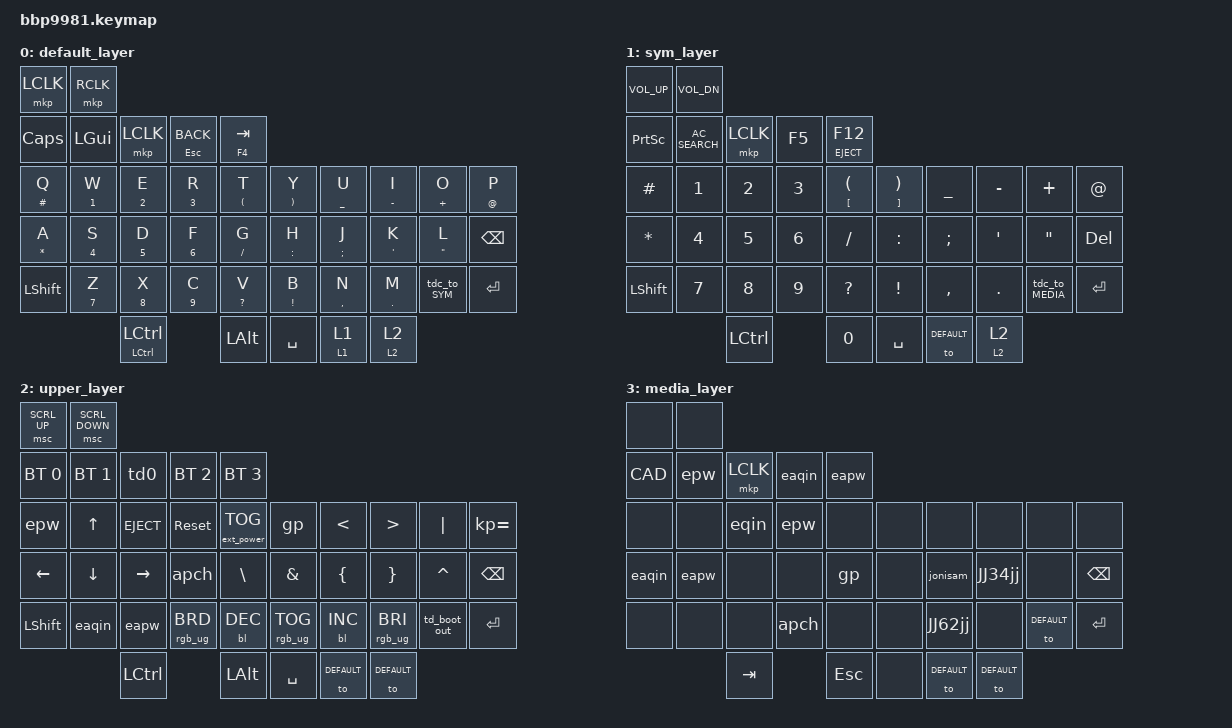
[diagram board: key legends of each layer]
/*
 * Copyright (c) 2025 ZitaoTech
 *
 * SPDX-License-Identifier: MIT
 */

#include <dt-bindings/zmk/mouse.h>
#include <behaviors.dtsi>
#include <dt-bindings/zmk/backlight.h>
#include <dt-bindings/zmk/bt.h>
#include <dt-bindings/zmk/ext_power.h>
#include <dt-bindings/zmk/keys.h>
#include <dt-bindings/zmk/outputs.h>
#include <dt-bindings/zmk/pointing.h>
#include <dt-bindings/zmk/rgb.h>

#define DEFAULT 0
#define SYM 1
#define UPPER 2
#define MEDIA 3

#define SL_MO(layer) &sl_mo layer layer //tap -> sticky layer, hold -> momentary layer

&sl { release-after-ms = <3000>; };

/ {
    behaviors {
        td0: tap_dance_0 {
            compatible = "zmk,behavior-tap-dance";
            #binding-cells = <0>;
            tapping-term-ms = <400>;
            bindings = <&mkp LCLK>, <&bt BT_CLR>;
        };
    };

    behaviors {
        td_boot_out: td_boot_out {
            compatible = "zmk,behavior-tap-dance";
            #binding-cells = <0>;
            tapping-term-ms = <400>;
            bindings = <&bootloader>, <&out OUT_TOG>;
        };
    };

    behaviors {
        tdc_to_SYM: td_comma_to_layer {
            compatible = "zmk,behavior-tap-dance";
            #binding-cells = <0>;
            tapping-term-ms = <400>;
            bindings = <&kp SEMI>, <&to SYM>;
        };
    };

    behaviors {
        tdc_to_MEDIA: td_mute_to_layer {
            compatible = "zmk,behavior-tap-dance";
            #binding-cells = <0>;
            tapping-term-ms = <400>;
            bindings = <&kp C_MUTE>, <&to MEDIA>;
        };
    };

    behaviors {
        hm: homerow_mods {
            compatible = "zmk,behavior-hold-tap";
            #binding-cells = <2>;
            tapping-term-ms = <400>;
            bindings = <&kp &kp>;
        };
    };

    behaviors {
        sl_mo: behavior_sl_mo {
            compatible = "zmk,behavior-hold-tap";
            #binding-cells = <2>;
            flavor = "hold-preferred";      /* 单击优先 */
            tapping-term-ms = <450>;       /* 长按阈值 */
            bindings = <&mo &sl>;          /* hold=MO, tap=SL */
        };
    };

    behaviors {
        sk_kp: behavior_sk_kp {
            compatible = "zmk,behavior-hold-tap";
            #binding-cells = <2>;
            flavor = "hold-preferred";
            tapping-term-ms = <450>;
            bindings = <&kp &sk>;          /* hold=kp, tap=sticky key */
        };
    };

    behaviors {
        bhm: balanced_homerow_mods {
            compatible = "zmk,behavior-hold-tap";
            #binding-cells = <2>;
            flavor = "balanced";
            tapping-term-ms = <400>;
            bindings = <&kp>, <&kp>;
        };
    };

    macros {
        eqin: eqin {
            compatible = "zmk,behavior-macro";
            #binding-cells = <0>;
            bindings = <&none &kp E &kp A &kp Q &kp I &kp N>;
            label = "EQIN";
        };

        epw: epw {
            compatible = "zmk,behavior-macro";
            #binding-cells = <0>;
            bindings = <&none &kp LS(Q) &kp LS(J) &kp N2 &kp N3 &kp N4 &kp N7 &kp N1 &kp N2 &kp AT &kp T &kp B &kp EXCL>;
            label = "EPW";
        };

        eaqin: eaqin {
            compatible = "zmk,behavior-macro";
            #binding-cells = <0>;
            bindings = <&none &kp E &kp A &kp Q &kp I &kp N>;
            label = "EAQIN";
        };

        eapw: eapw {
            compatible = "zmk,behavior-macro";
            #binding-cells = <0>;
            bindings = <&none &kp LS(Q) &kp LS(J) &kp N3 &kp N2 &kp N8 &kp N5 &kp N0 &kp N4 &kp AT &kp T &kp B &kp EXCL>;
            label = "EAPW";
        };

        jonisam: jonisam {
            compatible = "zmk,behavior-macro";
            #binding-cells = <0>;
            bindings = <&none &kp J &kp O &kp N &kp I &kp S &kp A &kp M>;
            label = "JONISAM";
        };

        JJ62jj: JJ62jj {
            compatible = "zmk,behavior-macro";
            #binding-cells = <0>;
            bindings = <&none &kp LS(J) &kp LS(J) &kp N6 &kp N2 &kp N0 &kp N4 &kp N6 &kp N2 &kp N3 &kp N9 &kp J &kp J>;
            label = "JJ62JJ";
        };

        JJ34jj: JJ34jj {
            compatible = "zmk,behavior-macro";
            #binding-cells = <0>;
            bindings = <&none &kp LS(J) &kp LS(J) &kp N3 &kp N4 &kp N2 &kp N2 &kp N2 &kp N2 &kp N4 &kp N0 &kp J &kp J>;
            label = "JJ34JJ";
        };

        gp: gp {
            compatible = "zmk,behavior-macro";
            #binding-cells = <0>;
            bindings = <&none &kp G &kp P &kp U &kp P &kp D &kp A &kp T &kp E &kp SPACE &kp FSLH &kp F &kp O &kp R &kp C &kp E>;
            label = "GP";
        };

        apch: apch {
            compatible = "zmk,behavior-macro";
            #binding-cells = <0>;
            bindings = <&none &kp BSLH &kp BSLH &kp A &kp P &kp C &kp H &kp S &kp H &kp A &kp V &kp P &kp F &kp I &kp L &kp N0 &kp N1>;
            label = "APCH";
        };

        CAD: CAD {
            compatible = "zmk,behavior-macro";
            #binding-cells = <0>;
            bindings = <&kp RC(RA(DELETE))>;
            label = "CAD";
        };
    };

    keymap {
        compatible = "zmk,keymap";

        default_layer {
            bindings = <
&mkp LCLK    &mkp RCLK
&kp CLCK     &kp LGUI   &mkp LCLK           &mt ESC K_BACK  &mt F4 TAB
&bhm HASH Q  &bhm N1 W  &bhm N2 E           &bhm N3 R       &bhm LPAR T   &bhm RPAR Y     &bhm UNDER U  &bhm MINUS I  &bhm PLUS O  &bhm AT P
&bhm STAR A  &bhm N4 S  &bhm N5 D           &bhm N6 F       &bhm SLASH G  &bhm COLON H    &bhm SEMI J   &bhm APOS K   &bhm DQT L   &kp BSPC
&kp LSHFT    &bhm N7 Z  &bhm N8 X           &bhm N9 C       &bhm QMARK V  &bhm EXCL B     &bhm COMMA N  &bhm DOT M    &tdc_to_SYM  &kp ENTER
                        &sk_kp LCTRL LCTRL                  &kp LALT      &kp SPACE       &sl_mo 1 1    &sl_mo 2 2
            >;
        };

        sym_layer {
            bindings = <
&kp C_VOL_UP  &kp C_VOL_DN
&kp PSCRN     &kp C_AC_SEARCH  &mkp LCLK  &kp F5  &mt C_EJECT F12
&kp HASH      &kp N1           &kp N2     &kp N3  &mt LBKT LPAR    &mt RBKT RPAR    &kp UNDER    &kp MINUS   &kp PLUS       &kp AT
&kp STAR      &kp N4           &kp N5     &kp N6  &kp SLASH        &kp COLON        &kp SEMI     &kp APOS    &kp DQT        &kp DEL
&kp LSHFT     &kp N7           &kp N8     &kp N9  &kp QMARK        &kp EXCL         &kp COMMA    &kp DOT     &tdc_to_MEDIA  &kp ENTER
                               &kp LCTRL          &kp N0           &kp SPACE        &to DEFAULT  &sl_mo 2 2
            >;
        };

        upper_layer {
            bindings = <
&msc SCRL_UP  &msc SCRL_DOWN
&bt BT_SEL 0  &bt BT_SEL 1    &td0         &bt BT_SEL 2     &bt BT_SEL 3
&epw          &kp UP          &kp C_EJECT  &sys_reset       &ext_power EP_TOG  &gp                &kp LT       &kp GT           &kp PIPE      &kp KP_EQUAL
&kp LEFT      &kp DOWN        &kp RIGHT    &apch            &kp BSLH           &kp AMPS           &kp LBRC     &kp RBRC         &kp CARET     &kp BSPC
&kp LSHFT     &eaqin          &eapw        &rgb_ug RGB_BRD  &bl BL_DEC         &rgb_ug RGB_TOG    &bl BL_INC   &rgb_ug RGB_BRI  &td_boot_out  &kp ENTER
                              &kp LCTRL                     &kp LALT           &kp SPACE          &to DEFAULT  &to DEFAULT
            >;
        };

        media_layer {
            bindings = <
&none   &none
&CAD    &epw   &mkp LCLK  &eaqin  &eapw
&none   &none  &eqin      &epw    &none    &none    &none        &none        &none        &none
&eaqin  &eapw  &none      &none   &gp      &none    &jonisam     &JJ34jj      &none        &kp BSPC
&none   &none  &none      &apch   &none    &none    &JJ62jj      &none        &to DEFAULT  &kp RETURN
               &kp TAB            &kp ESC  &none    &to DEFAULT  &to DEFAULT
            >;
        };
    };
};
